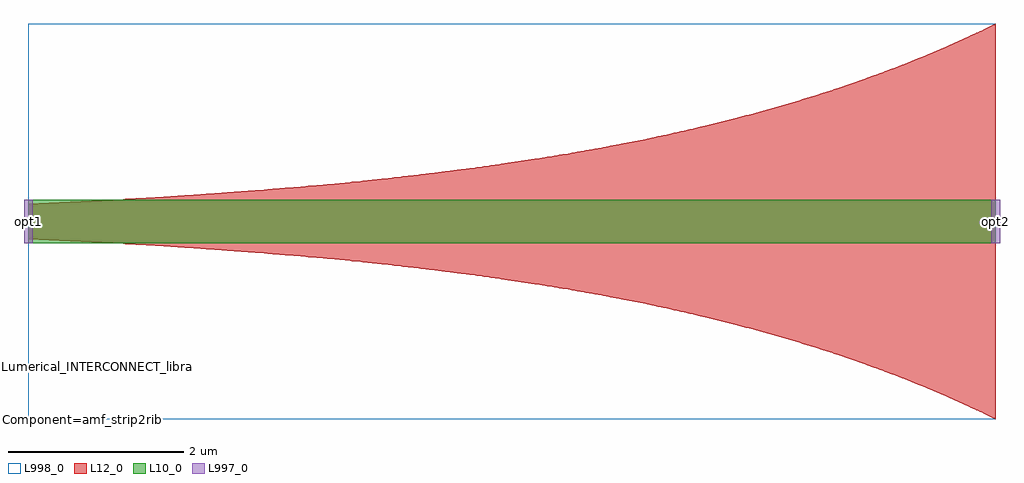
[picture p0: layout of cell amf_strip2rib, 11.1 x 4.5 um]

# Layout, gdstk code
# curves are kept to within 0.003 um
import gdstk
lib = gdstk.Library(unit=1e-6, precision=1e-09)
def R(c, l, rs):  # rectangles x0, y0, x1, y1
    for r in rs: c.add(gdstk.rectangle(r[:2], r[2:], *l))
def P(c, l, *ps):  # polygons
    for p in ps: c.add(gdstk.Polygon(p, *l))
L10_0 = (10, 0)
L12_0 = (12, 0)
L997_0 = (997, 0)
L998_0 = (998, 0)

amf_strip2rib = lib.new_cell('amf_strip2rib')
R(amf_strip2rib, L10_0, [(0,2,11,2.5)])
P(amf_strip2rib, L12_0, [(11,0),(10.7,0.144),(10.38,0.287),(9.96,0.46),(9.62,0.589),(9.32,0.695),(8.9,0.832),(8.56,0.934),(8.2,1.034),(8.2,3.466),(8.56,3.566),(8.9,3.668),(9.24,3.778),(9.62,3.911),(9.96,4.04),(10.38,4.213),(10.7,4.356),(11,4.5)],
  [(8.2,1.034),(7.52,1.203),(7.14,1.287),(6.74,1.368),(6.14,1.477),(5.38,1.596),(5.38,2.904),(6.14,3.023),(6.74,3.132),(7.14,3.213),(7.52,3.297),(8.2,3.466)],
  [(5.38,1.596),(4.88,1.664),(4.24,1.741),(3.68,1.8),(3.04,1.859),(2.2,1.925),(1.62,1.964),(1.08,1.996),(0,2.05),(0,2.45),(1.08,2.504),(1.62,2.536),(2.2,2.575),(3.04,2.641),(3.68,2.7),(4.24,2.759),(4.88,2.836),(5.38,2.904)])
R(amf_strip2rib, L998_0, [(0,0,11,4.5)])
amf_strip2rib.add(gdstk.FlexPath([(10.95,2.25),(11.05,2.25)], 0.5, ends="flush", simple_path=True, layer=997, datatype=0))  # L997_0
amf_strip2rib.add(gdstk.FlexPath([(0.05,2.25),(-0.05,2.25)], 0.5, ends="flush", simple_path=True, layer=997, datatype=0))  # L997_0
amf_strip2rib.add(gdstk.Label('opt2', (11,2.25), layer=997, texttype=0))
amf_strip2rib.add(gdstk.Label('opt1', (0,2.25), layer=997, texttype=0))
amf_strip2rib.add(gdstk.Label('Lumerical_INTERCONNECT_library=Design kits/SiEPIC_AMF', (0,0.6), layer=998, texttype=0))
amf_strip2rib.add(gdstk.Label('Component=amf_strip2rib', (0,0), layer=998, texttype=0))

lib.write_gds('amf_strip2rib.gds')
